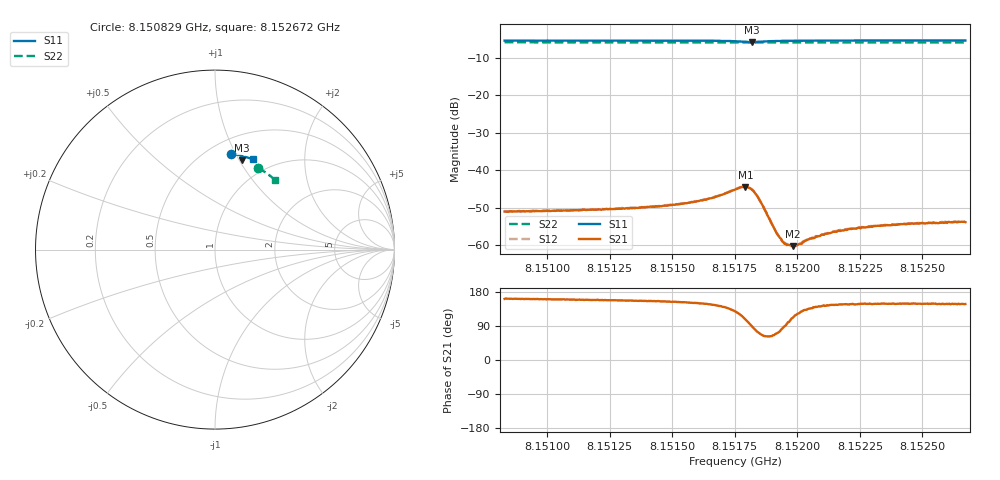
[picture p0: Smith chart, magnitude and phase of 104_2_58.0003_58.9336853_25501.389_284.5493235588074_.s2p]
#  HZ  S  RI  R  50.00
! Rohde & Schwarz Vector Network Analyzer
! Rohde-Schwarz,ZNB20-2Port,1311601062101988,3.16
! Created: UTC 3/21/2024, 12:54:56 AM
! freq[Hz]  re:S11  im:S11  re:S21  im:S21  re:S12  im:S12  re:S22  im:S22
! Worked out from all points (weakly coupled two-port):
!   401 points, 8.150829 GHz to 8.152672 GHz, reference 50 ohm
!   highest |S21| = -44.46 dB at 8.151792 GHz (marker M1); lowest = -60.2 dB at 8.151981 GHz (marker M2)
!   lowest |S11| = -5.7 dB at 8.15182 GHz (marker M3), VSWR 3.16, Z = 37.6 + j51.3 ohm
!   |S11| at or under -10 dB: nowhere
!   |S22| runs from -5.8 to -5.8 dB; largest |S21 - S12| = 0.00013
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8.1508294e9  0.0912 0.5347  -0.00265 0.000898  -0.00269 0.000895  0.24 0.4552
8.151138e9  0.1131 0.5309  -0.00272 0.00105  -0.00273 0.00113  0.2573 0.4452
8.1514466e9  0.1358 0.5256  -0.00297 0.00138  -0.00299 0.00146  0.2741 0.4346
8.1516308e9  0.1512 0.52  -0.00343 0.00212  -0.00342 0.0022  0.284 0.4277
8.1516953e9  0.1572 0.5154  -0.00367 0.00286  -0.00363 0.00298  0.2873 0.4252
8.1517506e9  0.1616 0.5075  -0.00341 0.00432  -0.00338 0.00439  0.2902 0.4229
8.151792e9  0.1578 0.4986  -0.00179 0.00571  -0.00171 0.00575  0.2919 0.4213
8.1518197e9  0.1497 0.4974  0.000213 0.00543  0.000279 0.00548  0.293 0.4203
8.1518335e9  0.1463 0.5  0.000973 0.0047  0.00106 0.00473  0.2938 0.4199
8.1518519e9  0.1445 0.5046  0.00139 0.00356  0.00146 0.00358  0.2945 0.4194
8.1519118e9  0.1502 0.5145  0.000568 0.00145  0.000619 0.00143  0.2978 0.4176
8.1519348e9  0.1533 0.5159  0.00021 0.00119  0.000239 0.00115  0.2991 0.4168
8.1519532e9  0.1557 0.5164  -1.4e-05 0.00103  -1.62e-05 0.00104  0.3 0.416
8.1519809e9  0.1589 0.5169  -0.000351 0.000906  -0.000337 0.00091  0.3016 0.415
8.1520085e9  0.1618 0.5167  -0.000576 0.000861  -0.000584 0.000871  0.3031 0.4139
8.1520361e9  0.1645 0.5165  -0.000778 0.00085  -0.000768 0.000876  0.3047 0.4128
8.1520592e9  0.1666 0.5163  -0.00091 0.000857  -0.000875 0.000825  0.3058 0.4119
8.152119e9  0.1717 0.5154  -0.00116 0.000822  -0.00116 0.000851  0.3089 0.4095
8.1521651e9  0.1754 0.5144  -0.0013 0.000872  -0.00128 0.000899  0.3111 0.4078
8.1522112e9  0.1789 0.5134  -0.00139 0.000882  -0.00138 0.000901  0.3135 0.4058
8.1523678e9  0.1903 0.5099  -0.00157 0.000957  -0.00157 0.000986  0.3212 0.3994
8.1526718e9  0.211 0.5025  -0.0017 0.00107  -0.00172 0.00111  0.3359 0.3867
